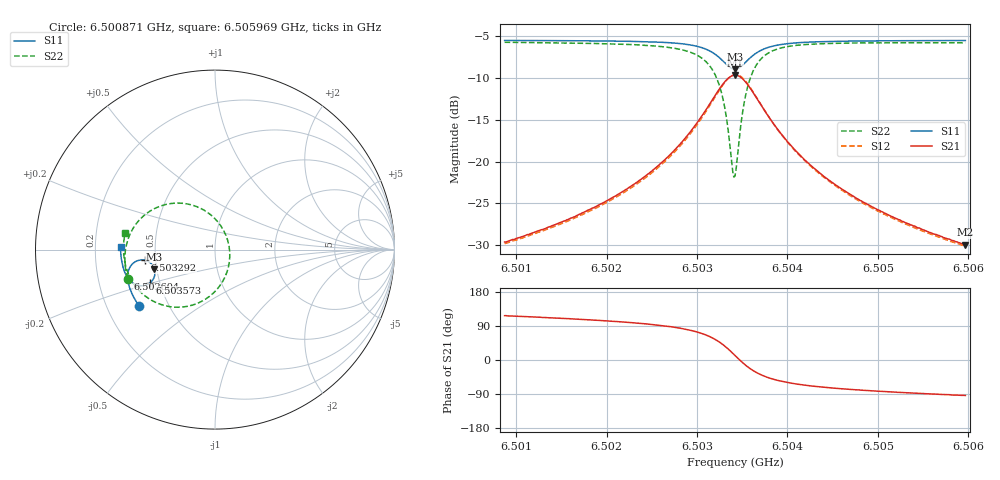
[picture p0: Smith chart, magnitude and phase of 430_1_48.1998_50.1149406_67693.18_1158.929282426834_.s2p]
#  HZ  S  RI  R  50.00
! Rohde & Schwarz Vector Network Analyzer
! Rohde-Schwarz,ZNB20-2Port,1311601062101988,3.16
! Created: UTC 3/20/2024, 11:55:17 AM
! freq[Hz]  re:S11  im:S11  re:S21  im:S21  re:S12  im:S12  re:S22  im:S22
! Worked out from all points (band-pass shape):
!   401 points, 6.500871 GHz to 6.505969 GHz, reference 50 ohm
!   highest |S21| = -9.71 dB at 6.50342 GHz (marker M1); lowest = -29.9 dB at 6.505969 GHz (marker M2)
!   |S21| within 3 dB of the highest: 6.503166 GHz to 6.503675 GHz (509 kHz wide, 0.00783 % of centre)
!   lowest |S11| = -9.0 dB at 6.50342 GHz (marker M3), VSWR 2.10, Z = 24.3 - j5.97 ohm
!   |S11| at or under -10 dB: nowhere
!   |S22| runs from -21.8 to -5.8 dB; largest |S21 - S12| = 0.011
!   S11 on the Smith chart (normalised r, x): 6.500871 GHz: 0.34, -0.30; 6.502604 GHz: 0.33, -0.15; 6.503292 GHz: 0.44, -0.06; 6.503573 GHz: 0.44, -0.20; 6.505969 GHz: 0.31, +0.01
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6.5008713e9  -0.4228 -0.3136  -0.015 0.0295  -0.0132 0.0296  -0.4873 -0.1621
6.5017251e9  -0.46 -0.2512  -0.0145 0.0471  -0.012 0.0466  -0.5016 -0.0724
6.5021966e9  -0.4768 -0.2098  -0.0115 0.0662  -0.00867 0.0651  -0.4995 -0.00661
6.5025789e9  -0.4862 -0.168  -0.00286 0.0953  0.0008 0.0931  -0.4808 0.0685
6.5026044e9  -0.4865 -0.1648  -0.00162 0.098  0.002 0.0956  -0.4784 0.0746
6.5028975e9  -0.4831 -0.1203  0.0249 0.1415  0.0288 0.1371  -0.4229 0.1634
6.5030886e9  -0.4623 -0.0821  0.0783 0.1835  0.0809 0.1773  -0.321 0.2359
6.5032033e9  -0.4302 -0.0613  0.1467 0.2014  0.1476 0.195  -0.198 0.259
6.5032925e9  -0.3902 -0.0593  0.2257 0.1858  0.226 0.1806  -0.0617 0.2201
6.5033307e9  -0.3709 -0.0667  0.2618 0.1632  0.2627 0.1584  -0.00191 0.1739
6.5033944e9  -0.3442 -0.093  0.3098 0.0998  0.3123 0.0947  0.0704 0.0522
6.5034199e9  -0.3378 -0.1075  0.32 0.0678  0.3232 0.0619  0.0816 -0.00753
6.5034454e9  -0.3346 -0.1232  0.3238 0.0344  0.3273 0.0273  0.08 -0.0686
6.5035091e9  -0.3417 -0.1603  0.306 -0.0433  0.308 -0.0535  0.0254 -0.2034
6.5035728e9  -0.3627 -0.1861  0.2634 -0.0976  0.2625 -0.1089  -0.0704 -0.2863
6.5036748e9  -0.4022 -0.2013  0.189 -0.1338  0.1838 -0.1432  -0.2199 -0.3208
6.5038405e9  -0.4481 -0.1917  0.1078 -0.1308  0.1009 -0.136  -0.3666 -0.2747
6.5040189e9  -0.4755 -0.1702  0.0637 -0.1109  0.0574 -0.1133  -0.4382 -0.2101
6.5042737e9  -0.4961 -0.1403  0.0338 -0.0869  0.029 -0.0875  -0.4811 -0.1384
6.5046815e9  -0.5124 -0.0983  0.0142 -0.0628  0.0109 -0.0623  -0.5044 -0.0596
6.5051275e9  -0.521 -0.0574  0.00508 -0.0475  0.0027 -0.0468  -0.5098 0.00197
6.5059686e9  -0.5259 0.0137  -0.00202 -0.0319  -0.00332 -0.0311  -0.5019 0.0902
